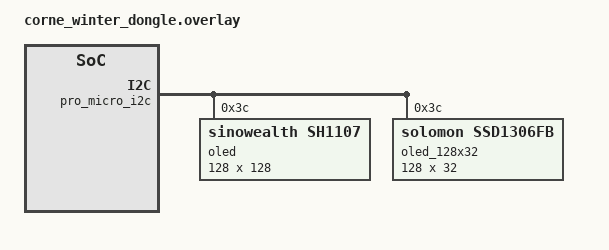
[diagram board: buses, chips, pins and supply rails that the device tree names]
#include "corne_winter.dtsi"

/ {
    /* Mock kscan for dongle */
    kscan_dongle: kscan_dongle {
        compatible = "zmk,kscan-mock";
        columns = <0>;
        rows = <0>;
        events = <0>;
    };

    /* 👇 THIS is required for ZMK display */
    chosen {
        zephyr,display = &oled;
    };
};

/* Replace kscan */
&physical_layout_corne_winter {
    kscan = <&kscan_dongle>;
};

/* 👇 Enable I2C + define OLED */
&pro_micro_i2c {
    status = "okay";
    oled: sh1107@3c {
        compatible = "sinowealth,sh1107";
        reg = <0x3c>;
        width = <128>;
        height = <128>;
        segment-offset = <0>;
        page-offset = <0>;
        display-offset = <0>;
        multiplex-ratio = <127>;
        prechargep = <0x22>;
    };
    oled_128x32: ssd1306@3c {
        compatible = "solomon,ssd1306fb";
        reg = <0x3c>;
        width = <128>;
        height = <32>;
        segment-offset = <0>;
        page-offset = <0>;
        display-offset = <0>;
        multiplex-ratio = <31>;
        // segment-remap;
        // com-invdir;
        // com-sequential;
        // inversion-on;
        prechargep = <0x22>;
    };
};
